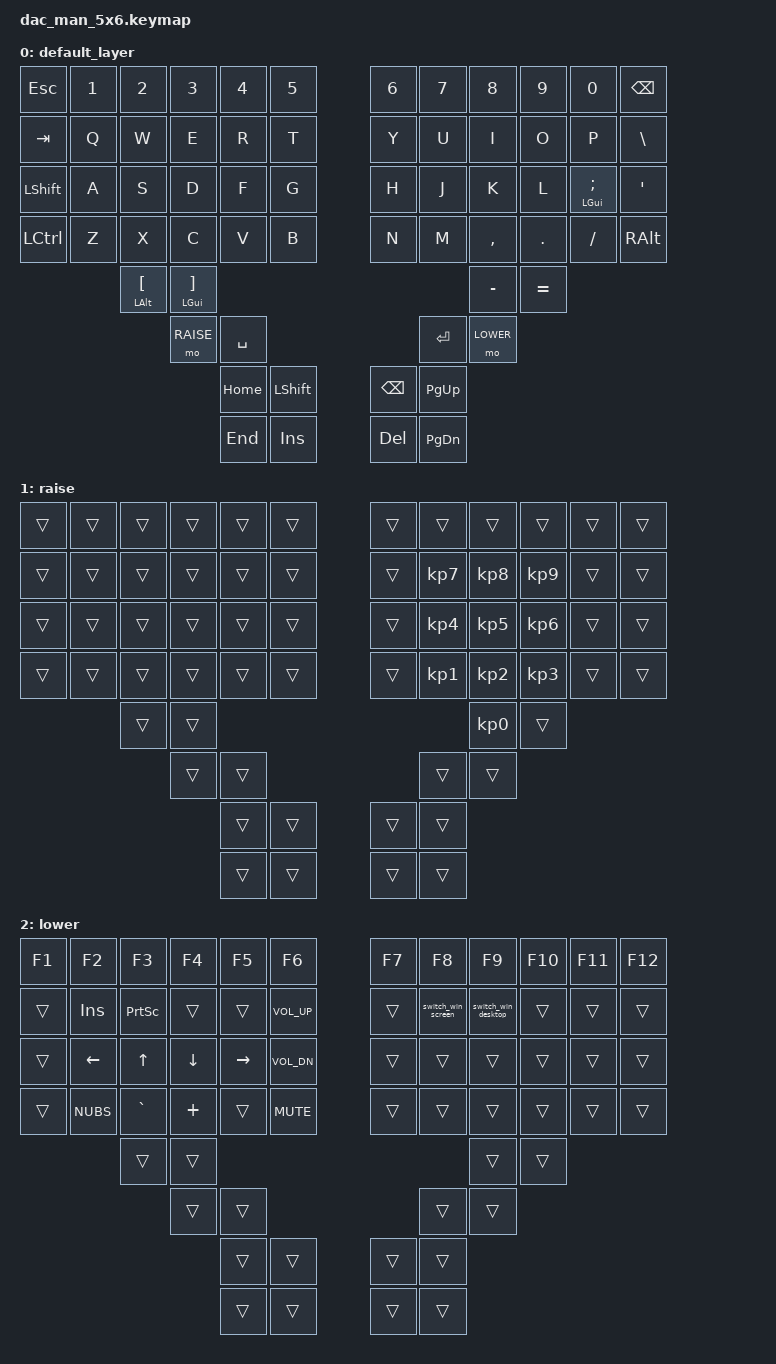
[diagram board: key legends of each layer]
#include <behaviors.dtsi>
#include <dt-bindings/zmk/keys.h>
#include <dt-bindings/zmk/bt.h>

#define DEFAULT 0
#define RAISE   1
#define LOWER   2

/ {
    macros {
        switch_win_screen: switch_win_screen {
            compatible = "zmk,behavior-macro";
            #binding-cells = <0>;
            bindings
                = <&macro_press &kp LGUI &kp LSHIFT>
                , <&macro_pause_for_release>
                , <&macro_release &kp LGUI &kp LSHIFT>;
        };
        switch_win_desktop: switch_win_desktop {
            compatible = "zmk,behavior-macro";
            #binding-cells = <0>;
            bindings
                = <&macro_press &kp LGUI &kp LCTRL>
                , <&macro_pause_for_release>
                , <&macro_release &kp LGUI &kp LCTRL>;
        };
    };
};

/ {
    keymap {
        compatible = "zmk,keymap";

        default_layer {
// Commented layout is not actual layout.
// -------------------------------------------------------------------------------------------------------------------------
// |   ESC   |    1    |    2    |    3    |    4    |    5    |                   |    6    |    7    |    8    |    9    |    0    |  BSPC   |
// |   TAB   |    Q    |    W    |    E    |    R    |    T    |                   |    Y    |    U    |    I    |    O    |    P    |    \    |
// |  LSHiFT |    A    |    S    |    D    |    F    |    G    |                   |    H    |    J    |    K    |    L    |    ;    |    '    |
// |  LCTRL  |    Z    |    X    |    C    |    V    |    B    |                   |    N    |    M    |    ,    |    .    |    /    |  RALT   |
//                     |    [    |    ]    |                                                           |    -    |    =    |
//                               | MO lay 1| SPACE   |                   | ENTER   | MO lay 2|
//                                         |   HOME  |  LSHiFT |   BSPC  |  PG_UP  |
//                                         |  Raise  |   INS   |   DEL   |  PG_DN  |
            bindings = <
&kp ESC    &kp N1     &kp N2         &kp N3     &kp N4      &kp N5                   &kp N6     &kp N7     &kp N8     &kp N9     &kp N0         &kp BSPC
&kp TAB    &kp Q      &kp W          &kp E      &kp R       &kp T                    &kp Y      &kp U      &kp I      &kp O      &kp P          &kp BSLH
&kp LSHIFT &kp A      &kp S          &kp D      &kp F       &kp G                    &kp H      &kp J      &kp K      &kp L      &mt LGUI SEMI  &kp SQT
&kp LCTRL  &kp Z      &kp X          &kp C      &kp V       &kp B                    &kp N      &kp M      &kp COMMA  &kp DOT    &kp FSLH       &kp RALT
                      &mt LALT LBKT  &mt LGUI RBKT                                                         &kp MINUS  &kp EQUAL
                                     &mo RAISE  &kp SPACE                                       &kp ENTER  &mo LOWER
                                                &kp HOME    &kp LSHIFT               &kp BSPC   &kp PG_UP
                                                &kp END     &kp INS                  &kp DEL    &kp PG_DN
            >;
        };

        raise {
// commented layout is not actual layout.
// -------------------------------------------------------------------------------------------------------------------------
// |    ~    |    ~    |    ~    |    ~    |    ~    |    ~    |                   |    ~    |    ~    |    ~    |    ~    |    ~    |    ~    |
// |    ~    |    ~    |    ~    |    ~    |    ~    |    ~    |                   |    ~    |    7    |    6    |    9    |    ~    |    ~    |
// |    ~    |    ~    |    ~    |    ~    |    ~    |    ~    |                   |    ~    |    4    |    5    |    6    |    ~    |    ~    |
// |    ~    |    ~    |    ~    |    ~    |    ~    |    ~    |                   |    ~    |    1    |    2    |    3    |    ~    |    ~    |
//                     |    ~    |    ~    |                                                           |    0    |    ~    |
//                               |    ~    |    ~    |                   |    ~    |    ~    |
//                                         |    ~    |    ~    |    ~    |    ~    |
//                                         |    ~    |    ~    |    ~    |    ~    |
            bindings = <
&trans      &trans      &trans    &trans    &trans    &trans                        &trans    &trans        &trans         &trans        &trans    &trans
&trans      &trans      &trans    &trans    &trans    &trans                        &trans    &kp KP_N7     &kp KP_N8      &kp KP_N9     &trans    &trans
&trans      &trans      &trans    &trans    &trans    &trans                        &trans    &kp KP_N4     &kp KP_N5      &kp KP_N6     &trans    &trans
&trans      &trans      &trans    &trans    &trans    &trans                        &trans    &kp KP_N1     &kp KP_N2      &kp KP_N3     &trans    &trans
                        &trans    &trans                                                                    &kp KP_N0      &trans
                                  &trans    &trans                         &trans   &trans
                                            &trans    &trans     &trans    &trans      
                                            &trans    &trans     &trans    &trans      
            >;
        };

        lower {
// commented layout is not actual layout.
// -------------------------------------------------------------------------------------------------------------------------
// |    F1   |    F2   |    F3   |    F4   |    F5   |    F6   |                   |    F7   |    F8   |    F9   |   F10   |   F11   |   F12   |
// |    ~    |   INS   |  PSCRN  |    ~    |    ~    | C_VOL_UP|                   |    ~    |swiscreen|swideskto|    ~    |    ~    |    ~    |
// |    ~    |   LEFT  |   UP    |  DOWN   |  RIGHT  | C_VOL_DN|                   |    ~    |    ~    |    ~    |    ~    |    ~    |    ~    |
// |    ~    |   NUBS  |  GRAVE  |    '    |    ~    |  C_MUTE |                   |    ~    |    ~    |    ~    |    ~    |    ~    |    ~    |
//                     |    ~    |    ~    |                                                           |    ~    |    ~    |
//                               |    ~    |    ~    |                   |    ~    |    ~    |
//                                         |    ~    |    ~    |    ~    |    ~    |
//                                         |    ~    |    ~    |    ~    |    ~    |
            bindings = <
&kp F1         &kp F2     &kp F3    &kp F4    &kp F5     &kp F6                       &kp F7    &kp F8    &kp F9    &kp F10   &kp F11   &kp F12
&trans         &kp INS    &kp PSCRN &trans    &trans     &kp C_VOL_UP                 &trans    &switch_win_screen  &switch_win_desktop &trans    &trans    &trans
&trans         &kp LEFT   &kp UP    &kp DOWN  &kp RIGHT  &kp C_VOL_DN                 &trans    &trans    &trans    &trans    &trans    &trans
&trans         &kp NUBS   &kp GRAVE &kp PLUS    &trans     &kp C_MUTE                   &trans    &trans    &trans    &trans    &trans    &trans
                          &trans    &trans                                                                &trans    &trans
                                    &trans    &trans                          &trans  &trans
                                              &trans     &trans    &trans     &trans
                                              &trans     &trans    &trans     &trans
            >;
        };
   };
};
